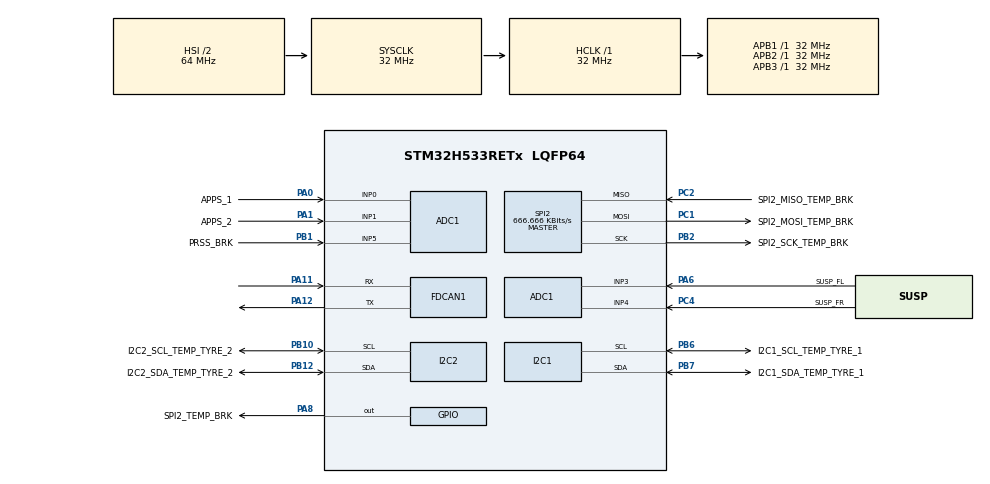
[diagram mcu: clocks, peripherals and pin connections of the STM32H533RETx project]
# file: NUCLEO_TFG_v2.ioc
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ADC1.Channel-1\#ChannelRegularConversion=ADC_CHANNEL_0
ADC1.Channel-3\#ChannelRegularConversion=ADC_CHANNEL_1
ADC1.Channel-4\#ChannelRegularConversion=ADC_CHANNEL_3
ADC1.Channel-5\#ChannelRegularConversion=ADC_CHANNEL_4
ADC1.Channel-6\#ChannelRegularConversion=ADC_CHANNEL_5
ADC1.DMAContinuousRequests=DISABLE
ADC1.EnableAnalogWatchDog3=false
ADC1.MonitoredBy-1\#ChannelRegularConversion=__NULL
ADC1.MonitoredBy-3\#ChannelRegularConversion=__NULL
ADC1.MonitoredBy-4\#ChannelRegularConversion=__NULL
ADC1.MonitoredBy-5\#ChannelRegularConversion=__NULL
ADC1.MonitoredBy-6\#ChannelRegularConversion=__NULL
ADC1.NbrOfConversion=5
ADC1.NbrOfConversionFlag=1
ADC1.OffsetNumber-1\#ChannelRegularConversion=ADC_OFFSET_NONE
ADC1.OffsetNumber-3\#ChannelRegularConversion=ADC_OFFSET_NONE
ADC1.OffsetNumber-4\#ChannelRegularConversion=ADC_OFFSET_NONE
ADC1.OffsetNumber-5\#ChannelRegularConversion=ADC_OFFSET_NONE
ADC1.OffsetNumber-6\#ChannelRegularConversion=ADC_OFFSET_NONE
ADC1.Rank-1\#ChannelRegularConversion=1
ADC1.Rank-3\#ChannelRegularConversion=2
ADC1.Rank-4\#ChannelRegularConversion=3
ADC1.Rank-5\#ChannelRegularConversion=4
ADC1.Rank-6\#ChannelRegularConversion=5
ADC1.SamplingTime-1\#ChannelRegularConversion=ADC_SAMPLETIME_24CYCLES_5
ADC1.SamplingTime-3\#ChannelRegularConversion=ADC_SAMPLETIME_24CYCLES_5
ADC1.SamplingTime-4\#ChannelRegularConversion=ADC_SAMPLETIME_24CYCLES_5
ADC1.SamplingTime-5\#ChannelRegularConversion=ADC_SAMPLETIME_24CYCLES_5
ADC1.SamplingTime-6\#ChannelRegularConversion=ADC_SAMPLETIME_24CYCLES_5
ADC1.master=1
BOOTPATH.BootPathName=LEGACY
BOOTPATH.UserSelectedBootPath=LEGACY
CORTEX_M33_NS.userName=CORTEX_M33
FDCAN1.CalculateBaudRateNominal=501960
FDCAN1.CalculateTimeBitNominal=1992
FDCAN1.CalculateTimeQuantumNominal=117.1875
FDCAN1.DataSyncJumpWidth=4
FDCAN1.DataTimeSeg1=12
FDCAN1.DataTimeSeg2=4
FDCAN1.FrameFormat=FDCAN_FRAME_FD_BRS
FDCAN1.NominalPrescaler=5
FDCAN1.NominalSyncJumpWidth=4
FDCAN1.NominalTimeSeg1=12
FDCAN1.NominalTimeSeg2=4
I2C1.Timing=0x00707CBB
I2C2.Timing=0x00707CBB
Mcu.Family=STM32H5
Mcu.Name=STM32H533RETx
Mcu.Package=LQFP64
NUCLEO-H533RE.BUTTON=1
NUCLEO-H533RE.LD4=true
NUCLEO-H533RE.VCP=true
NVIC.EXTI13_IRQn=true\:0\:0\:false\:false\:true\:false\:true\:true
NVIC.PriorityGroup=NVIC_PRIORITYGROUP_4
PA0.GPIO_Label=APPS_1
PA0.Signal=ADCx_INP0
PA1.GPIO_Label=APPS_2
PA1.Signal=ADCx_INP1
PA11.Mode=FDCAN_Activate
PA11.Signal=FDCAN1_RX
PA12.Mode=FDCAN_Activate
PA12.Signal=FDCAN1_TX
PA13(JTMS/SWDIO).GPIO_Label=SWDIO
PA13(JTMS/SWDIO).Signal=DEBUG_JTMS-SWDIO
PA14(JTCK/SWCLK).GPIO_Label=SWCLK
PA14(JTCK/SWCLK).Signal=DEBUG_JTCK-SWCLK
PA15(JTDI).GPIO_Label=JTDI
PA15(JTDI).Signal=DEBUG_JTDI
PA2.Signal=USART2_TX
PA3.Signal=USART2_RX
PA6.GPIO_Label=SUSP_FL
PA6.Signal=ADCx_INP3
PA8.GPIO_Label=SPI2_TEMP_BRK
PA8.Signal=GPIO_Output
PB1.GPIO_Label=PRSS_BRK
PB1.Signal=ADCx_INP5
PB10.GPIO_Label=I2C2_SCL_TEMP_TYRE_2
PB10.Mode=I2C
PB10.Signal=I2C2_SCL
PB12.GPIO_Label=I2C2_SDA_TEMP_TYRE_2
PB12.Mode=I2C
PB12.Signal=I2C2_SDA
PB2.GPIO_Label=SPI2_SCK_TEMP_BRK
PB2.Mode=Full_Duplex_Master
PB2.Signal=SPI2_SCK
PB3(JTDO/TRACESWO).GPIO_Label=SWO
PB3(JTDO/TRACESWO).Signal=DEBUG_JTDO-SWO
PB6.GPIO_Label=I2C1_SCL_TEMP_TYRE_1
PB6.Mode=I2C
PB6.Signal=I2C1_SCL
PB7.GPIO_Label=I2C1_SDA_TEMP_TYRE_1
PB7.Mode=I2C
PB7.Signal=I2C1_SDA
PC1.GPIO_Label=SPI2_MOSI_TEMP_BRK
PC1.Mode=Full_Duplex_Master
PC1.Signal=SPI2_MOSI
PC2.GPIO_Label=SPI2_MISO_TEMP_BRK
PC2.Mode=Full_Duplex_Master
PC2.Signal=SPI2_MISO
PC4.GPIO_Label=SUSP_FR
PC4.Signal=ADCx_INP4
ProjectManager.HeapSize=0x200
ProjectManager.StackSize=0x400
ProjectManager.TargetToolchain=STM32CubeIDE
RCC.ADCFreq_Value=32000000
RCC.AHBFreq_Value=32000000
RCC.APB1Freq_Value=32000000
RCC.APB1TimFreq_Value=32000000
RCC.APB2Freq_Value=32000000
RCC.APB2TimFreq_Value=32000000
RCC.APB3Freq_Value=32000000
RCC.CSI_VALUE=4000000
RCC.CortexFreq_Value=32000000
RCC.EPOD_VALUE=4000000
RCC.FDCANClockSelection=RCC_FDCANCLKSOURCE_PLL1Q
RCC.HCLKFreq_Value=32000000
RCC.HSE_VALUE=25000000
RCC.HSI48_VALUE=48000000
RCC.HSI_VALUE=64000000
RCC.LSE_VALUE=32768
RCC.LSIRC_VALUE=32000
RCC.PLL1Q=3
RCC.PLLFRACN=0
RCC.PLLN=32
RCC.SYSCLKFreq_VALUE=32000000
RCC.USBFreq_Value=48000000
RCC.VCOOutputFreq_Value=128000000
SH.ADCx_INP0.0=ADC1_INP0,IN0-Single-Ended
SH.ADCx_INP1.0=ADC1_INP1,IN1-Single-Ended
SH.ADCx_INP3.0=ADC1_INP3,IN3-Single-Ended
SH.ADCx_INP4.0=ADC1_INP4,IN4-Single-Ended
SH.ADCx_INP5.0=ADC1_INP5,IN5-Single-Ended
SPI2.BaudRatePrescaler=SPI_BAUDRATEPRESCALER_64
SPI2.CalculateBaudRate=666.666 KBits/s
SPI2.DataSize=SPI_DATASIZE_8BIT
SPI2.Direction=SPI_DIRECTION_2LINES
SPI2.Mode=SPI_MODE_MASTER
SPI2.VirtualType=VM_MASTER
VP_BOOTPATH_VS_BOOTPATH.Mode=BP_Activate
VP_CORTEX_M33_NS_VS_Hclk.Mode=Hclk_Mode
VP_MEMORYMAP_VS_MEMORYMAP.Mode=CurAppReg
VP_NUCLEO-H533RE_VS_BSP_COMMON.Mode=COMMON
VP_PWR_VS_LPOM.Mode=PowerOptimisation
VP_PWR_VS_SECSignals.Mode=Security/Privilege
board=NUCLEO-H533RE

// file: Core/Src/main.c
/* USER CODE BEGIN Header */
/**
  ******************************************************************************
  * @file           : main.c
  * @brief          : Main program body
  ******************************************************************************
  * @attention
  *
  * Copyright (c) 2026 STMicroelectronics.
  * All rights reserved.
  *
  * This software is licensed under terms that can be found in the LICENSE file
  * in the root directory of this software component.
  * If no LICENSE file comes with this software, it is provided AS-IS.
  *
  ******************************************************************************
  */
/* USER CODE END Header */
#include "main.h"

/* USER CODE BEGIN PD */

// --- Sensor de presion EPT1400 ---
#define EPT1400_PMAX        100.0f   // bar del modelo
#define EPT1400_VMIN        0.5f     // V a 0 bar (offset del sensor, del datasheet)
#define EPT1400_VSPAN       4.0f     // V de recorrido (4.5 - 0.5, del datasheet)
#define EPT1400_DIVIDER_K   0.6471f  // divisor R1=10k, R2=18.2k -> 4.5V se mapea a 2.91V

// --- Sensor de temperatura de rueda MLX90614 ---
#define MLX90614_ADDR     (0x5A << 1)   // direccion 7-bit desplazada para HAL
#define MLX90614_TOBJ1    0x07          // registro temperatura del objeto

// --- IDs de las tramas CAN ---
#define CAN_ID_APPS     0x100   // acelerador (APPS_1, APPS_2)
#define CAN_ID_SUSP     0x101   // suspension (SUSP_FL, SUSP_FR)
#define CAN_ID_BRAKE    0x102   // presion de freno
#define CAN_ID_TEMPS    0x103   // temperaturas (disco, rueda1, rueda2)

// --- Periodos del scheduler (ms) ---
#define PERIOD_FAST     10      // 100 Hz: APPS, suspension, freno
#define PERIOD_SLOW     250     // 4 Hz: temperaturas

/* USER CODE END PD */

COM_InitTypeDef BspCOMInit;
ADC_HandleTypeDef hadc1;

FDCAN_HandleTypeDef hfdcan1;

I2C_HandleTypeDef hi2c1;
I2C_HandleTypeDef hi2c2;

SPI_HandleTypeDef hspi2;

/* USER CODE BEGIN PV */

//ADC
#define ADC_N_CHANNELS 5
uint16_t adc_val[ADC_N_CHANNELS];
enum { APPS_1 = 0, APPS_2, SUSP_FL, SUSP_FR, BRAKE };

//SPI
float   temp_disco    = 0.0f;   // °C, temperatura disco de freno (MAX6675)
uint8_t max6675_fault = 0;      // 1 = termopar desconectado

//I2C
float temp_tyre1 = 0.0f;   // °C, temperatura rueda 1 (MLX90614 en I2C1)
float temp_tyre2 = 0.0f;   // °C, temperatura rueda 2 (MLX90614 en I2C2)

//CAN
FDCAN_TxHeaderTypeDef TxHeaderApps;
FDCAN_TxHeaderTypeDef TxHeaderSusp;
FDCAN_TxHeaderTypeDef TxHeaderBrake;
FDCAN_TxHeaderTypeDef TxHeaderTemps;

uint32_t t_last_fast = 0;
uint32_t t_last_slow = 0;

/* USER CODE END PV */

void SystemClock_Config(void);
static void MX_GPIO_Init(void);
static void MX_ADC1_Init(void);
static void MX_FDCAN1_Init(void);
static void MX_SPI2_Init(void);
static void MX_I2C1_Init(void);
static void MX_I2C2_Init(void);

/* USER CODE BEGIN PFP */

static void CAN_InitHeader(FDCAN_TxHeaderTypeDef *h, uint32_t id, uint32_t dlc);

/* USER CODE END PFP */

/* USER CODE BEGIN 0 */
static void CAN_InitHeader(FDCAN_TxHeaderTypeDef *h, uint32_t id, uint32_t dlc)
{
    h->Identifier          = id;
    h->IdType              = FDCAN_STANDARD_ID;
    h->TxFrameType         = FDCAN_DATA_FRAME;
    h->DataLength          = dlc;
    h->ErrorStateIndicator = FDCAN_ESI_ACTIVE;
    h->BitRateSwitch       = FDCAN_BRS_ON;
    h->FDFormat            = FDCAN_FD_CAN;
    h->TxEventFifoControl  = FDCAN_NO_TX_EVENTS;
    h->MessageMarker       = 0;
}
/* USER CODE END 0 */

int main(void)
{

  /* MCU Configuration--------------------------------------------------------*/

  /* Reset of all peripherals, Initializes the Flash interface and the Systick. */
  HAL_Init();

  /* Configure the system clock */
  SystemClock_Config();

  /* Initialize all configured peripherals */
  MX_GPIO_Init();
  MX_ADC1_Init();
  MX_FDCAN1_Init();
  MX_SPI2_Init();
  MX_I2C1_Init();
  MX_I2C2_Init();
  /* USER CODE BEGIN 2 */

  //ADC CALIBRACIÓN
  if (HAL_ADCEx_Calibration_Start(&hadc1, ADC_SINGLE_ENDED) != HAL_OK)
  {
      Error_Handler();
  }

  // Cabeceras de las 4 tramas
  CAN_InitHeader(&TxHeaderApps,  CAN_ID_APPS,  FDCAN_DLC_BYTES_4);  // 2x uint16
  CAN_InitHeader(&TxHeaderSusp,  CAN_ID_SUSP,  FDCAN_DLC_BYTES_4);  // 2x uint16
  CAN_InitHeader(&TxHeaderBrake, CAN_ID_BRAKE, FDCAN_DLC_BYTES_2);  // 1x uint16
  CAN_InitHeader(&TxHeaderTemps, CAN_ID_TEMPS, FDCAN_DLC_BYTES_8);  // 3x int16 + flags

  /* USER CODE END 2 */

  /* Initialize leds */
  BSP_LED_Init(LED_GREEN);

  /* Initialize USER push-button, will be used to trigger an interrupt each time it's pressed.*/
  BSP_PB_Init(BUTTON_USER, BUTTON_MODE_EXTI);

  /* Initialize COM1 port (115200, 8 bits (7-bit data + 1 stop bit), no parity */
  BspCOMInit.BaudRate   = 115200;
  BspCOMInit.WordLength = COM_WORDLENGTH_8B;
  BspCOMInit.StopBits   = COM_STOPBITS_1;
  BspCOMInit.Parity     = COM_PARITY_NONE;
  BspCOMInit.HwFlowCtl  = COM_HWCONTROL_NONE;
  if (BSP_COM_Init(COM1, &BspCOMInit) != BSP_ERROR_NONE)
  {
    Error_Handler();
  }

  /* Infinite loop */
  /* USER CODE BEGIN WHILE */
  while (1)
  {     uint32_t now = HAL_GetTick();

  // ===== GRUPO RÁPIDO (100 Hz) =====
  if (now - t_last_fast >= PERIOD_FAST)
  {
      t_last_fast = now;

      // --- Lectura ADC (5 canales) ---
      HAL_ADC_Start(&hadc1);
      for (int i = 0; i < ADC_N_CHANNELS; i++)
      {
          if (HAL_ADC_PollForConversion(&hadc1, 10) == HAL_OK)
              adc_val[i] = HAL_ADC_GetValue(&hadc1);
          else
              adc_val[i] = 0xFFFF;
      }
      HAL_ADC_Stop(&hadc1);

      // Presion de freno en bar, escalada x10 -> uint16
      float v_brake_adc = (adc_val[BRAKE] * 3.3f) / 4095.0f;
      float v_brake     = v_brake_adc / EPT1400_DIVIDER_K;
      float p_brake     = (v_brake - EPT1400_VMIN) * EPT1400_PMAX / EPT1400_VSPAN;
      uint16_t brake_x10 = (uint16_t)(p_brake * 10.0f);

      // --- Empaquetado y envio: APPS (raw ADC, big-endian) ---
      uint8_t dApps[4];
      dApps[0] = (uint8_t)(adc_val[APPS_1] >> 8);
      dApps[1] = (uint8_t)(adc_val[APPS_1] & 0xFF);
      dApps[2] = (uint8_t)(adc_val[APPS_2] >> 8);
      dApps[3] = (uint8_t)(adc_val[APPS_2] & 0xFF);
      HAL_FDCAN_AddMessageToTxFifoQ(&hfdcan1, &TxHeaderApps, dApps);

      // --- Suspension (raw ADC) ---
      uint8_t dSusp[4];
      dSusp[0] = (uint8_t)(adc_val[SUSP_FL] >> 8);
      dSusp[1] = (uint8_t)(adc_val[SUSP_FL] & 0xFF);
      dSusp[2] = (uint8_t)(adc_val[SUSP_FR] >> 8);
      dSusp[3] = (uint8_t)(adc_val[SUSP_FR] & 0xFF);
      HAL_FDCAN_AddMessageToTxFifoQ(&hfdcan1, &TxHeaderSusp, dSusp);

      // --- Presion de freno (bar x10) ---
      uint8_t dBrake[2];
      dBrake[0] = (uint8_t)(brake_x10 >> 8);
      dBrake[1] = (uint8_t)(brake_x10 & 0xFF);
      HAL_FDCAN_AddMessageToTxFifoQ(&hfdcan1, &TxHeaderBrake, dBrake);
  }

  // ===== GRUPO LENTO (4 Hz) =====
  if (now - t_last_slow >= PERIOD_SLOW)
  {
      t_last_slow = now;

      // --- Lectura SPI (MAX6675) ---
      uint8_t  spi_rx[2] = {0};
      uint16_t spi_raw   = 0;
      HAL_GPIO_WritePin(SPI2_TEMP_BRK_GPIO_Port, SPI2_TEMP_BRK_Pin, GPIO_PIN_RESET);
      if (HAL_SPI_Receive(&hspi2, spi_rx, 2, 10) == HAL_OK)
      {
          spi_raw = ((uint16_t)spi_rx[0] << 8) | spi_rx[1];
          if (spi_raw & 0x0004)
          {
              max6675_fault = 1;
              temp_disco = -1.0f;
          }
          else
          {
              max6675_fault = 0;
              temp_disco = ((spi_raw >> 3) & 0x0FFF) * 0.25f;
          }
      }
      HAL_GPIO_WritePin(SPI2_TEMP_BRK_GPIO_Port, SPI2_TEMP_BRK_Pin, GPIO_PIN_SET);

      // --- Lectura I2C (2x MLX90614) ---
      uint8_t mlx_buf[2] = {0};
      if (HAL_I2C_Mem_Read(&hi2c1, MLX90614_ADDR, MLX90614_TOBJ1,
                           I2C_MEMADD_SIZE_8BIT, mlx_buf, 2, 10) == HAL_OK)
          temp_tyre1 = (((uint16_t)mlx_buf[1] << 8) | mlx_buf[0]) * 0.02f - 273.15f;

      if (HAL_I2C_Mem_Read(&hi2c2, MLX90614_ADDR, MLX90614_TOBJ1,
                           I2C_MEMADD_SIZE_8BIT, mlx_buf, 2, 10) == HAL_OK)
          temp_tyre2 = (((uint16_t)mlx_buf[1] << 8) | mlx_buf[0]) * 0.02f - 273.15f;

      // --- Empaquetado: temperaturas (int16, °C x10) + flag ---
      int16_t td  = (int16_t)(temp_disco * 10.0f);
      int16_t tt1 = (int16_t)(temp_tyre1 * 10.0f);
      int16_t tt2 = (int16_t)(temp_tyre2 * 10.0f);

      uint8_t dTemps[8];
      dTemps[0] = (uint8_t)(td  >> 8);
      dTemps[1] = (uint8_t)(td  & 0xFF);
      dTemps[2] = (uint8_t)(tt1 >> 8);
      dTemps[3] = (uint8_t)(tt1 & 0xFF);
      dTemps[4] = (uint8_t)(tt2 >> 8);
      dTemps[5] = (uint8_t)(tt2 & 0xFF);
      dTemps[6] = max6675_fault;     // byte de flags
      dTemps[7] = 0;                 // reservado
      HAL_FDCAN_AddMessageToTxFifoQ(&hfdcan1, &TxHeaderTemps, dTemps);

      // --- Debug opcional (descomentar para ver por terminal) ---
      // printf("BRK:%.1f bar | Disco:%.1f Rueda1:%.1f Rueda2:%.1f C (fault=%u)\r\n",
      //        p_brake, temp_disco, temp_tyre1, temp_tyre2, max6675_fault);
  }
      /* USER CODE END WHILE */

  }
}

void SystemClock_Config(void)
{
  RCC_OscInitTypeDef RCC_OscInitStruct = {0};
  RCC_ClkInitTypeDef RCC_ClkInitStruct = {0};

  /** Configure the main internal regulator output voltage
  */
  __HAL_PWR_VOLTAGESCALING_CONFIG(PWR_REGULATOR_VOLTAGE_SCALE3);

  while(!__HAL_PWR_GET_FLAG(PWR_FLAG_VOSRDY)) {}

  /** Initializes the RCC Oscillators according to the specified parameters
  * in the RCC_OscInitTypeDef structure.
  */
  RCC_OscInitStruct.OscillatorType = RCC_OSCILLATORTYPE_HSI|RCC_OSCILLATORTYPE_CSI;
  RCC_OscInitStruct.HSIState = RCC_HSI_ON;
  RCC_OscInitStruct.HSIDiv = RCC_HSI_DIV2;
  RCC_OscInitStruct.HSICalibrationValue = RCC_HSICALIBRATION_DEFAULT;
  RCC_OscInitStruct.CSIState = RCC_CSI_ON;
  RCC_OscInitStruct.CSICalibrationValue = RCC_CSICALIBRATION_DEFAULT;
  RCC_OscInitStruct.PLL.PLLState = RCC_PLL_ON;
  RCC_OscInitStruct.PLL.PLLSource = RCC_PLL1_SOURCE_CSI;
  RCC_OscInitStruct.PLL.PLLM = 1;
  RCC_OscInitStruct.PLL.PLLN = 32;
  RCC_OscInitStruct.PLL.PLLP = 2;
  RCC_OscInitStruct.PLL.PLLQ = 3;
  RCC_OscInitStruct.PLL.PLLR = 2;
  RCC_OscInitStruct.PLL.PLLRGE = RCC_PLL1_VCIRANGE_2;
  RCC_OscInitStruct.PLL.PLLVCOSEL = RCC_PLL1_VCORANGE_WIDE;
  RCC_OscInitStruct.PLL.PLLFRACN = 0;
  if (HAL_RCC_OscConfig(&RCC_OscInitStruct) != HAL_OK)
  {
    Error_Handler();
  }

  /** Initializes the CPU, AHB and APB buses clocks
  */
  RCC_ClkInitStruct.ClockType = RCC_CLOCKTYPE_HCLK|RCC_CLOCKTYPE_SYSCLK
                              |RCC_CLOCKTYPE_PCLK1|RCC_CLOCKTYPE_PCLK2
                              |RCC_CLOCKTYPE_PCLK3;
  RCC_ClkInitStruct.SYSCLKSource = RCC_SYSCLKSOURCE_HSI;
  RCC_ClkInitStruct.AHBCLKDivider = RCC_SYSCLK_DIV1;
  RCC_ClkInitStruct.APB1CLKDivider = RCC_HCLK_DIV1;
  RCC_ClkInitStruct.APB2CLKDivider = RCC_HCLK_DIV1;
  RCC_ClkInitStruct.APB3CLKDivider = RCC_HCLK_DIV1;

  if (HAL_RCC_ClockConfig(&RCC_ClkInitStruct, FLASH_LATENCY_1) != HAL_OK)
  {
    Error_Handler();
  }

  /** Configure the programming delay
  */
  __HAL_FLASH_SET_PROGRAM_DELAY(FLASH_PROGRAMMING_DELAY_0);
}

static void MX_ADC1_Init(void)
{

  ADC_ChannelConfTypeDef sConfig = {0};

  /** Common config
  */
  hadc1.Instance = ADC1;
  hadc1.Init.ClockPrescaler = ADC_CLOCK_ASYNC_DIV1;
  hadc1.Init.Resolution = ADC_RESOLUTION_12B;
  hadc1.Init.DataAlign = ADC_DATAALIGN_RIGHT;
  hadc1.Init.ScanConvMode = ADC_SCAN_ENABLE;
  hadc1.Init.EOCSelection = ADC_EOC_SINGLE_CONV;
  hadc1.Init.LowPowerAutoWait = DISABLE;
  hadc1.Init.ContinuousConvMode = DISABLE;
  hadc1.Init.NbrOfConversion = 5;
  hadc1.Init.DiscontinuousConvMode = DISABLE;
  hadc1.Init.ExternalTrigConv = ADC_SOFTWARE_START;
  hadc1.Init.ExternalTrigConvEdge = ADC_EXTERNALTRIGCONVEDGE_NONE;
  hadc1.Init.DMAContinuousRequests = DISABLE;
  hadc1.Init.SamplingMode = ADC_SAMPLING_MODE_NORMAL;
  hadc1.Init.Overrun = ADC_OVR_DATA_PRESERVED;
  hadc1.Init.OversamplingMode = DISABLE;
  if (HAL_ADC_Init(&hadc1) != HAL_OK)
  {
    Error_Handler();
  }

  /** Configure Regular Channel
  */
  sConfig.Channel = ADC_CHANNEL_0;
  sConfig.Rank = ADC_REGULAR_RANK_1;
  sConfig.SamplingTime = ADC_SAMPLETIME_24CYCLES_5;
  sConfig.SingleDiff = ADC_SINGLE_ENDED;
  sConfig.OffsetNumber = ADC_OFFSET_NONE;
  sConfig.Offset = 0;
  if (HAL_ADC_ConfigChannel(&hadc1, &sConfig) != HAL_OK)
  {
    Error_Handler();
  }

  /** Configure Regular Channel
  */
  sConfig.Channel = ADC_CHANNEL_1;
  sConfig.Rank = ADC_REGULAR_RANK_2;
  if (HAL_ADC_ConfigChannel(&hadc1, &sConfig) != HAL_OK)
  {
    Error_Handler();
  }

  /** Configure Regular Channel
  */
  sConfig.Channel = ADC_CHANNEL_3;
  sConfig.Rank = ADC_REGULAR_RANK_3;
  if (HAL_ADC_ConfigChannel(&hadc1, &sConfig) != HAL_OK)
  {
    Error_Handler();
  }

  /** Configure Regular Channel
  */
  sConfig.Channel = ADC_CHANNEL_4;
  sConfig.Rank = ADC_REGULAR_RANK_4;
  if (HAL_ADC_ConfigChannel(&hadc1, &sConfig) != HAL_OK)
  {
    Error_Handler();
  }

  /** Configure Regular Channel
  */
  sConfig.Channel = ADC_CHANNEL_5;
  sConfig.Rank = ADC_REGULAR_RANK_5;
  if (HAL_ADC_ConfigChannel(&hadc1, &sConfig) != HAL_OK)
  {
    Error_Handler();
  }

}

static void MX_FDCAN1_Init(void)
{

  hfdcan1.Instance = FDCAN1;
  hfdcan1.Init.ClockDivider = FDCAN_CLOCK_DIV1;
  hfdcan1.Init.FrameFormat = FDCAN_FRAME_FD_BRS;
  hfdcan1.Init.Mode = FDCAN_MODE_NORMAL;
  hfdcan1.Init.AutoRetransmission = DISABLE;
  hfdcan1.Init.TransmitPause = DISABLE;
  hfdcan1.Init.ProtocolException = DISABLE;
  hfdcan1.Init.NominalPrescaler = 5;
  hfdcan1.Init.NominalSyncJumpWidth = 4;
  hfdcan1.Init.NominalTimeSeg1 = 12;
  hfdcan1.Init.NominalTimeSeg2 = 4;
  hfdcan1.Init.DataPrescaler = 1;
  hfdcan1.Init.DataSyncJumpWidth = 4;
  hfdcan1.Init.DataTimeSeg1 = 12;
  hfdcan1.Init.DataTimeSeg2 = 4;
  hfdcan1.Init.StdFiltersNbr = 0;
  hfdcan1.Init.ExtFiltersNbr = 0;
  hfdcan1.Init.TxFifoQueueMode = FDCAN_TX_FIFO_OPERATION;
  if (HAL_FDCAN_Init(&hfdcan1) != HAL_OK)
  {
    Error_Handler();
  }

}

static void MX_I2C1_Init(void)
{

  hi2c1.Instance = I2C1;
  hi2c1.Init.Timing = 0x00707CBB;
  hi2c1.Init.OwnAddress1 = 0;
  hi2c1.Init.AddressingMode = I2C_ADDRESSINGMODE_7BIT;
  hi2c1.Init.DualAddressMode = I2C_DUALADDRESS_DISABLE;
  hi2c1.Init.OwnAddress2 = 0;
  hi2c1.Init.OwnAddress2Masks = I2C_OA2_NOMASK;
  hi2c1.Init.GeneralCallMode = I2C_GENERALCALL_DISABLE;
  hi2c1.Init.NoStretchMode = I2C_NOSTRETCH_DISABLE;
  if (HAL_I2C_Init(&hi2c1) != HAL_OK)
  {
    Error_Handler();
  }

  /** Configure Analogue filter
  */
  if (HAL_I2CEx_ConfigAnalogFilter(&hi2c1, I2C_ANALOGFILTER_ENABLE) != HAL_OK)
  {
    Error_Handler();
  }

  /** Configure Digital filter
  */
  if (HAL_I2CEx_ConfigDigitalFilter(&hi2c1, 0) != HAL_OK)
  {
    Error_Handler();
  }

}

static void MX_I2C2_Init(void)
{

  hi2c2.Instance = I2C2;
  hi2c2.Init.Timing = 0x00707CBB;
  hi2c2.Init.OwnAddress1 = 0;
  hi2c2.Init.AddressingMode = I2C_ADDRESSINGMODE_7BIT;
  hi2c2.Init.DualAddressMode = I2C_DUALADDRESS_DISABLE;
  hi2c2.Init.OwnAddress2 = 0;
  hi2c2.Init.OwnAddress2Masks = I2C_OA2_NOMASK;
  hi2c2.Init.GeneralCallMode = I2C_GENERALCALL_DISABLE;
  hi2c2.Init.NoStretchMode = I2C_NOSTRETCH_DISABLE;
  if (HAL_I2C_Init(&hi2c2) != HAL_OK)
  {
    Error_Handler();
  }

  /** Configure Analogue filter
  */
  if (HAL_I2CEx_ConfigAnalogFilter(&hi2c2, I2C_ANALOGFILTER_ENABLE) != HAL_OK)
  {
    Error_Handler();
  }

  /** Configure Digital filter
  */
  if (HAL_I2CEx_ConfigDigitalFilter(&hi2c2, 0) != HAL_OK)
  {
    Error_Handler();
  }

}

static void MX_SPI2_Init(void)
{

  /* SPI2 parameter configuration*/
  hspi2.Instance = SPI2;
  hspi2.Init.Mode = SPI_MODE_MASTER;
  hspi2.Init.Direction = SPI_DIRECTION_2LINES;
  hspi2.Init.DataSize = SPI_DATASIZE_8BIT;
  hspi2.Init.CLKPolarity = SPI_POLARITY_LOW;
  hspi2.Init.CLKPhase = SPI_PHASE_1EDGE;
  hspi2.Init.NSS = SPI_NSS_SOFT;
  hspi2.Init.BaudRatePrescaler = SPI_BAUDRATEPRESCALER_64;
  hspi2.Init.FirstBit = SPI_FIRSTBIT_MSB;
  hspi2.Init.TIMode = SPI_TIMODE_DISABLE;
  hspi2.Init.CRCCalculation = SPI_CRCCALCULATION_DISABLE;
  hspi2.Init.CRCPolynomial = 0x7;
  hspi2.Init.NSSPMode = SPI_NSS_PULSE_ENABLE;
  hspi2.Init.NSSPolarity = SPI_NSS_POLARITY_LOW;
  hspi2.Init.FifoThreshold = SPI_FIFO_THRESHOLD_01DATA;
  hspi2.Init.MasterSSIdleness = SPI_MASTER_SS_IDLENESS_00CYCLE;
  hspi2.Init.MasterInterDataIdleness = SPI_MASTER_INTERDATA_IDLENESS_00CYCLE;
  hspi2.Init.MasterReceiverAutoSusp = SPI_MASTER_RX_AUTOSUSP_DISABLE;
  hspi2.Init.MasterKeepIOState = SPI_MASTER_KEEP_IO_STATE_DISABLE;
  hspi2.Init.IOSwap = SPI_IO_SWAP_DISABLE;
  hspi2.Init.ReadyMasterManagement = SPI_RDY_MASTER_MANAGEMENT_INTERNALLY;
  hspi2.Init.ReadyPolarity = SPI_RDY_POLARITY_HIGH;
  if (HAL_SPI_Init(&hspi2) != HAL_OK)
  {
    Error_Handler();
  }

}

static void MX_GPIO_Init(void)
{
  GPIO_InitTypeDef GPIO_InitStruct = {0};

  /* GPIO Ports Clock Enable */
  __HAL_RCC_GPIOC_CLK_ENABLE();
  __HAL_RCC_GPIOA_CLK_ENABLE();
  __HAL_RCC_GPIOB_CLK_ENABLE();

  /*Configure GPIO pin Output Level */
  HAL_GPIO_WritePin(SPI2_TEMP_BRK_GPIO_Port, SPI2_TEMP_BRK_Pin, GPIO_PIN_RESET);

  /*Configure GPIO pin : SPI2_TEMP_BRK_Pin */
  GPIO_InitStruct.Pin = SPI2_TEMP_BRK_Pin;
  GPIO_InitStruct.Mode = GPIO_MODE_OUTPUT_PP;
  GPIO_InitStruct.Pull = GPIO_NOPULL;
  GPIO_InitStruct.Speed = GPIO_SPEED_FREQ_LOW;
  HAL_GPIO_Init(SPI2_TEMP_BRK_GPIO_Port, &GPIO_InitStruct);

}

void Error_Handler(void)
{
  __disable_irq();
  while (1)
  {
  }
}
